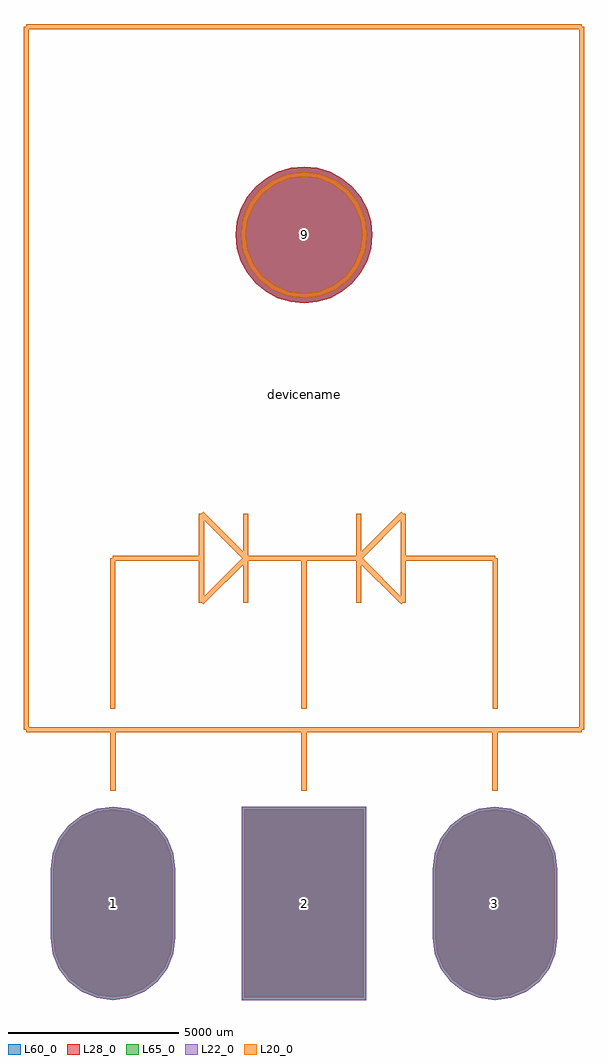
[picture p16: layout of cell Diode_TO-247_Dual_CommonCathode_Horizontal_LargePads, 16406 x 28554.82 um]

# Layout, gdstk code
import gdstk
lib = gdstk.Library(unit=1e-6, precision=1e-09)
def R(c, l, rs):  # rectangles x0, y0, x1, y1
    for r in rs: c.add(gdstk.rectangle(r[:2], r[2:], *l))
def P(c, l, *ps):  # polygons
    for p in ps: c.add(gdstk.Polygon(p, *l))
L20_0 = (20, 0)
L22_0 = (22, 0)
L28_0 = (28, 0)
L60_0 = (60, 0)
L65_0 = (65, 0)

diode_to_247_dual_common = lib.new_cell('Diode_TO-247_Dual_CommonCathode_Horizontal_LargePads')
R(diode_to_247_dual_common, L22_0, [(3755.32,-2825.82,7405.44,2825.82)])
P(diode_to_247_dual_common, L22_0, [(11168.38,-2825.82),(11640.74,-2763.633),(12080.91,-2581.308),(12458.892,-2291.272),(12748.928,-1913.29),(12931.253,-1473.12),(12993.44,-1000.76),(12993.44,1000.76),(12931.253,1473.12),(12748.928,1913.29),(12458.892,2291.272),(12080.91,2581.308),(11640.74,2763.633),(11168.38,2825.82),(10696.02,2763.633),(10255.85,2581.308),(9877.868,2291.272),(9587.832,1913.29),(9405.507,1473.12),(9343.32,1000.76),(9343.32,-1000.76),(9405.507,-1473.12),(9587.832,-1913.29),(9877.868,-2291.272),(10255.85,-2581.308),(10696.02,-2763.633)],
  [(-7.62,-2825.82),(464.74,-2763.633),(904.91,-2581.308),(1282.892,-2291.272),(1572.928,-1913.29),(1755.253,-1473.12),(1817.44,-1000.76),(1817.44,1000.76),(1755.253,1473.12),(1572.928,1913.29),(1282.892,2291.272),(904.91,2581.308),(464.74,2763.633),(-7.62,2825.82),(-479.98,2763.633),(-920.15,2581.308),(-1298.132,2291.272),(-1588.168,1913.29),(-1770.493,1473.12),(-1832.68,1000.76),(-1832.68,-1000.76),(-1770.493,-1473.12),(-1588.168,-1913.29),(-1298.132,-2291.272),(-920.15,-2581.308),(-479.98,-2763.633)])
R(diode_to_247_dual_common, L28_0, [(3830.32,-2750.82,7330.44,2750.82)])
P(diode_to_247_dual_common, L28_0, [(7580.63,19558),(7542.196,19948.229),(7428.37,20323.463),(7243.527,20669.279),(6994.77,20972.39),(6691.659,21221.147),(6345.843,21405.99),(5970.609,21519.816),(5580.38,21558.25),(5190.151,21519.816),(4814.917,21405.99),(4469.101,21221.147),(4165.99,20972.39),(3917.233,20669.279),(3732.39,20323.463),(3618.564,19948.229),(3580.13,19558),(3618.564,19167.771),(3732.39,18792.537),(3917.233,18446.721),(4165.99,18143.61),(4469.101,17894.853),(4814.917,17710.01),(5190.151,17596.184),(5580.38,17557.75),(5970.609,17596.184),(6345.843,17710.01),(6691.659,17894.853),(6994.77,18143.61),(7243.527,18446.721),(7428.37,18792.537),(7542.196,19167.771)],
  [(11168.38,-2750.82),(11621.329,-2691.188),(12043.41,-2516.356),(12405.859,-2238.239),(12683.976,-1875.79),(12858.808,-1453.709),(12918.44,-1000.76),(12918.44,1000.76),(12858.808,1453.709),(12683.976,1875.79),(12405.859,2238.239),(12043.41,2516.356),(11621.329,2691.188),(11168.38,2750.82),(10715.431,2691.188),(10293.35,2516.356),(9930.901,2238.239),(9652.784,1875.79),(9477.952,1453.709),(9418.32,1000.76),(9418.32,-1000.76),(9477.952,-1453.709),(9652.784,-1875.79),(9930.901,-2238.239),(10293.35,-2516.356),(10715.431,-2691.188)],
  [(-7.62,-2750.82),(445.329,-2691.188),(867.41,-2516.356),(1229.859,-2238.239),(1507.976,-1875.79),(1682.808,-1453.709),(1742.44,-1000.76),(1742.44,1000.76),(1682.808,1453.709),(1507.976,1875.79),(1229.859,2238.239),(867.41,2516.356),(445.329,2691.188),(-7.62,2750.82),(-460.569,2691.188),(-882.65,2516.356),(-1245.099,2238.239),(-1523.216,1875.79),(-1698.048,1453.709),(-1757.68,1000.76),(-1757.68,-1000.76),(-1698.048,-1453.709),(-1523.216,-1875.79),(-1245.099,-2238.239),(-882.65,-2516.356),(-460.569,-2691.188)])
R(diode_to_247_dual_common, L60_0, [(3830.32,-2750.82,7330.44,2750.82)])
P(diode_to_247_dual_common, L60_0, [(7580.63,19558),(7542.196,19948.229),(7428.37,20323.463),(7243.527,20669.279),(6994.77,20972.39),(6691.659,21221.147),(6345.843,21405.99),(5970.609,21519.816),(5580.38,21558.25),(5190.151,21519.816),(4814.917,21405.99),(4469.101,21221.147),(4165.99,20972.39),(3917.233,20669.279),(3732.39,20323.463),(3618.564,19948.229),(3580.13,19558),(3618.564,19167.771),(3732.39,18792.537),(3917.233,18446.721),(4165.99,18143.61),(4469.101,17894.853),(4814.917,17710.01),(5190.151,17596.184),(5580.38,17557.75),(5970.609,17596.184),(6345.843,17710.01),(6691.659,17894.853),(6994.77,18143.61),(7243.527,18446.721),(7428.37,18792.537),(7542.196,19167.771)],
  [(11168.38,-2750.82),(11621.329,-2691.188),(12043.41,-2516.356),(12405.859,-2238.239),(12683.976,-1875.79),(12858.808,-1453.709),(12918.44,-1000.76),(12918.44,1000.76),(12858.808,1453.709),(12683.976,1875.79),(12405.859,2238.239),(12043.41,2516.356),(11621.329,2691.188),(11168.38,2750.82),(10715.431,2691.188),(10293.35,2516.356),(9930.901,2238.239),(9652.784,1875.79),(9477.952,1453.709),(9418.32,1000.76),(9418.32,-1000.76),(9477.952,-1453.709),(9652.784,-1875.79),(9930.901,-2238.239),(10293.35,-2516.356),(10715.431,-2691.188)],
  [(-7.62,-2750.82),(445.329,-2691.188),(867.41,-2516.356),(1229.859,-2238.239),(1507.976,-1875.79),(1682.808,-1453.709),(1742.44,-1000.76),(1742.44,1000.76),(1682.808,1453.709),(1507.976,1875.79),(1229.859,2238.239),(867.41,2516.356),(445.329,2691.188),(-7.62,2750.82),(-460.569,2691.188),(-882.65,2516.356),(-1245.099,2238.239),(-1523.216,1875.79),(-1698.048,1453.709),(-1757.68,1000.76),(-1757.68,-1000.76),(-1698.048,-1453.709),(-1523.216,-1875.79),(-1245.099,-2238.239),(-882.65,-2516.356),(-460.569,-2691.188)])
R(diode_to_247_dual_common, L65_0, [(3755.32,-2825.82,7405.44,2825.82)])
P(diode_to_247_dual_common, L65_0, [(11168.38,-2825.82),(11640.74,-2763.633),(12080.91,-2581.308),(12458.892,-2291.272),(12748.928,-1913.29),(12931.253,-1473.12),(12993.44,-1000.76),(12993.44,1000.76),(12931.253,1473.12),(12748.928,1913.29),(12458.892,2291.272),(12080.91,2581.308),(11640.74,2763.633),(11168.38,2825.82),(10696.02,2763.633),(10255.85,2581.308),(9877.868,2291.272),(9587.832,1913.29),(9405.507,1473.12),(9343.32,1000.76),(9343.32,-1000.76),(9405.507,-1473.12),(9587.832,-1913.29),(9877.868,-2291.272),(10255.85,-2581.308),(10696.02,-2763.633)],
  [(-7.62,-2825.82),(464.74,-2763.633),(904.91,-2581.308),(1282.892,-2291.272),(1572.928,-1913.29),(1755.253,-1473.12),(1817.44,-1000.76),(1817.44,1000.76),(1755.253,1473.12),(1572.928,1913.29),(1282.892,2291.272),(904.91,2581.308),(464.74,2763.633),(-7.62,2825.82),(-479.98,2763.633),(-920.15,2581.308),(-1298.132,2291.272),(-1588.168,1913.29),(-1770.493,1473.12),(-1832.68,1000.76),(-1832.68,-1000.76),(-1770.493,-1473.12),(-1588.168,-1913.29),(-1298.132,-2291.272),(-920.15,-2581.308),(-479.98,-2763.633)])
diode_to_247_dual_common.add(gdstk.FlexPath([(13708.38,5080),(-2547.62,5080)], 149.998, ends="flush", simple_path=True, layer=20, datatype=0))  # L20_0
diode_to_247_dual_common.add(gdstk.FlexPath([(-2547.62,5080),(-2547.62,25654)], 149.998, ends="flush", simple_path=True, layer=20, datatype=0))  # L20_0
diode_to_247_dual_common.add(gdstk.FlexPath([(-2547.62,25654),(13708.38,25654)], 149.998, ends="flush", simple_path=True, layer=20, datatype=0))  # L20_0
diode_to_247_dual_common.add(gdstk.FlexPath([(13708.38,25654),(13708.38,5080)], 149.998, ends="flush", simple_path=True, layer=20, datatype=0))  # L20_0
diode_to_247_dual_common.add(gdstk.FlexPath([(7358.38,19558),(7297.796,20018.18),(7120.173,20447),(6837.616,20815.236),(6469.38,21097.793),(6040.56,21275.416),(5580.38,21336),(5120.2,21275.416),(4691.38,21097.793),(4323.144,20815.236),(4040.587,20447),(3862.964,20018.18),(3802.38,19558),(3862.964,19097.82),(4040.587,18669),(4323.144,18300.764),(4691.38,18018.207),(5120.2,17840.584),(5580.38,17780),(6040.56,17840.584),(6469.38,18018.207),(6837.616,18300.764),(7120.173,18669),(7297.796,19097.82),(7358.38,19558)], 149.998, ends="flush", simple_path=True, layer=20, datatype=0))  # L20_0
diode_to_247_dual_common.add(gdstk.FlexPath([(11168.38,3302),(11168.38,5080)], 149.998, ends="flush", simple_path=True, layer=20, datatype=0))  # L20_0
diode_to_247_dual_common.add(gdstk.FlexPath([(5580.38,3302),(5580.38,5080)], 149.998, ends="flush", simple_path=True, layer=20, datatype=0))  # L20_0
diode_to_247_dual_common.add(gdstk.FlexPath([(-7.62,3302),(-7.62,5080)], 149.998, ends="flush", simple_path=True, layer=20, datatype=0))  # L20_0
diode_to_247_dual_common.add(gdstk.FlexPath([(7180.58,11399.52),(7180.58,8801.1)], 149.998, ends="flush", simple_path=True, layer=20, datatype=0))  # L20_0
diode_to_247_dual_common.add(gdstk.FlexPath([(3881.12,11399.52),(3881.12,8801.1)], 149.998, ends="flush", simple_path=True, layer=20, datatype=0))  # L20_0
diode_to_247_dual_common.add(gdstk.FlexPath([(3881.12,10099.04),(7180.58,10099.04)], 149.998, ends="flush", simple_path=True, layer=20, datatype=0))  # L20_0
diode_to_247_dual_common.add(gdstk.FlexPath([(8481.06,8801.1),(7180.58,10099.04)], 149.998, ends="flush", simple_path=True, layer=20, datatype=0))  # L20_0
diode_to_247_dual_common.add(gdstk.FlexPath([(8481.06,11399.52),(8481.06,8801.1)], 149.998, ends="flush", simple_path=True, layer=20, datatype=0))  # L20_0
diode_to_247_dual_common.add(gdstk.FlexPath([(7180.58,10099.04),(8481.06,11399.52)], 149.998, ends="flush", simple_path=True, layer=20, datatype=0))  # L20_0
diode_to_247_dual_common.add(gdstk.FlexPath([(2580.64,8801.1),(3881.12,10099.04)], 149.998, ends="flush", simple_path=True, layer=20, datatype=0))  # L20_0
diode_to_247_dual_common.add(gdstk.FlexPath([(2580.64,11399.52),(2580.64,8801.1)], 149.998, ends="flush", simple_path=True, layer=20, datatype=0))  # L20_0
diode_to_247_dual_common.add(gdstk.FlexPath([(3881.12,10099.04),(2580.64,11399.52)], 149.998, ends="flush", simple_path=True, layer=20, datatype=0))  # L20_0
diode_to_247_dual_common.add(gdstk.FlexPath([(5580.38,10099.04),(5580.38,5699.76)], 149.998, ends="flush", simple_path=True, layer=20, datatype=0))  # L20_0
diode_to_247_dual_common.add(gdstk.FlexPath([(11181.08,10099.04),(11181.08,5699.76)], 149.998, ends="flush", simple_path=True, layer=20, datatype=0))  # L20_0
diode_to_247_dual_common.add(gdstk.FlexPath([(8481.06,10099.04),(11181.08,10099.04)], 149.998, ends="flush", simple_path=True, layer=20, datatype=0))  # L20_0
diode_to_247_dual_common.add(gdstk.FlexPath([(-20.32,10099.04),(-20.32,5699.76)], 149.998, ends="flush", simple_path=True, layer=20, datatype=0))  # L20_0
diode_to_247_dual_common.add(gdstk.FlexPath([(2580.64,10099.04),(-20.32,10099.04)], 149.998, ends="flush", simple_path=True, layer=20, datatype=0))  # L20_0
diode_to_247_dual_common.add(gdstk.Label('9', (5580.38,19558), layer=60, texttype=0))
diode_to_247_dual_common.add(gdstk.Label('3', (11168.38,0), layer=28, texttype=0))
diode_to_247_dual_common.add(gdstk.Label('1', (-7.62,0), layer=28, texttype=0))
diode_to_247_dual_common.add(gdstk.Label('2', (5580.38,0), layer=28, texttype=0))
diode_to_247_dual_common.add(gdstk.Label('type', (5575.3,-3848.1), layer=9, texttype=0))
diode_to_247_dual_common.add(gdstk.Label('devicename', (5580.38,14899.64), layer=9, texttype=0))

lib.write_gds('Diode_TO-247_Dual_CommonCathode_Horizontal_LargePads.gds')
